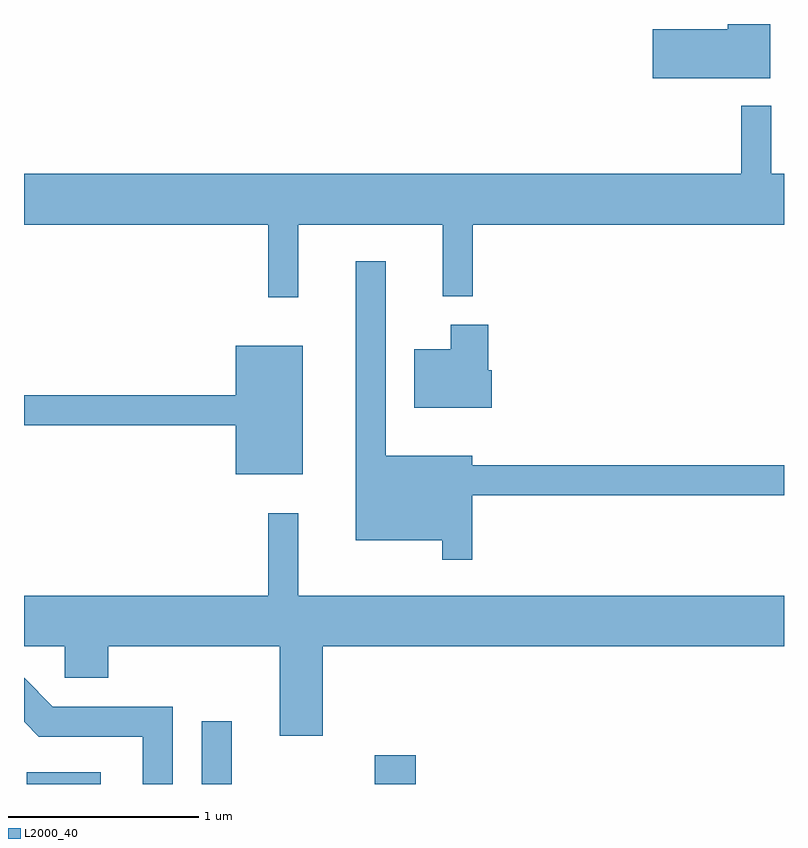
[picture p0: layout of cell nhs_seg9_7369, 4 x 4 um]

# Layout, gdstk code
import gdstk
lib = gdstk.Library(unit=1e-6, precision=1e-09)
def R(c, l, rs):  # rectangles x0, y0, x1, y1
    for r in rs: c.add(gdstk.rectangle(r[:2], r[2:], *l))
def P(c, l, *ps):  # polygons
    for p in ps: c.add(gdstk.Polygon(p, *l))
L2000_40 = (2000, 40)

nhs_seg9_7369 = lib.new_cell('nhs_seg9_7369')
R(nhs_seg9_7369, L2000_40, [(403.626,1984.432,404.014,1984.494), (404.546,1984.432,404.704,1984.763), (405.456,1984.432,405.674,1984.584)])
P(nhs_seg9_7369, L2000_40, [(407.539,1988.432),(407.316,1988.432),(407.316,1988.404),(406.921,1988.404),(406.921,1988.146),(407.539,1988.146)],
  [(405.054,1987.376),(405.816,1987.376),(405.816,1986.998),(405.974,1986.998),(405.974,1987.376),(407.611,1987.376),(407.611,1987.644),(407.544,1987.644),(407.544,1988.003),(407.386,1988.003),(407.386,1987.644),(403.611,1987.644),(403.611,1987.376),(404.896,1987.376),(404.896,1986.993),(405.054,1986.993)],
  [(405.969,1985.951),(407.611,1985.951),(407.611,1986.109),(405.969,1986.109),(405.969,1986.159),(405.514,1986.159),(405.514,1987.183),(405.356,1987.183),(405.356,1985.716),(405.811,1985.716),(405.811,1985.613),(405.969,1985.613)],
  [(406.074,1986.609),(406.054,1986.609),(406.054,1986.849),(405.856,1986.849),(405.856,1986.719),(405.666,1986.719),(405.666,1986.411),(406.074,1986.411)],
  [(405.079,1986.739),(404.726,1986.739),(404.726,1986.479),(403.611,1986.479),(403.611,1986.321),(404.726,1986.321),(404.726,1986.061),(405.079,1986.061)],
  [(405.184,1985.156),(407.611,1985.156),(407.611,1985.424),(405.054,1985.424),(405.054,1985.858),(404.896,1985.858),(404.896,1985.424),(403.611,1985.424),(403.611,1985.156),(403.826,1985.156),(403.826,1984.991),(404.054,1984.991),(404.054,1985.156),(404.956,1985.156),(404.956,1984.686),(405.184,1984.686)],
  [(404.394,1984.839),(403.762,1984.839),(403.611,1984.99),(403.611,1984.759),(403.689,1984.681),(404.236,1984.681),(404.236,1984.432),(404.394,1984.432)])

lib.write_gds('nhs_seg9_7369.gds')
